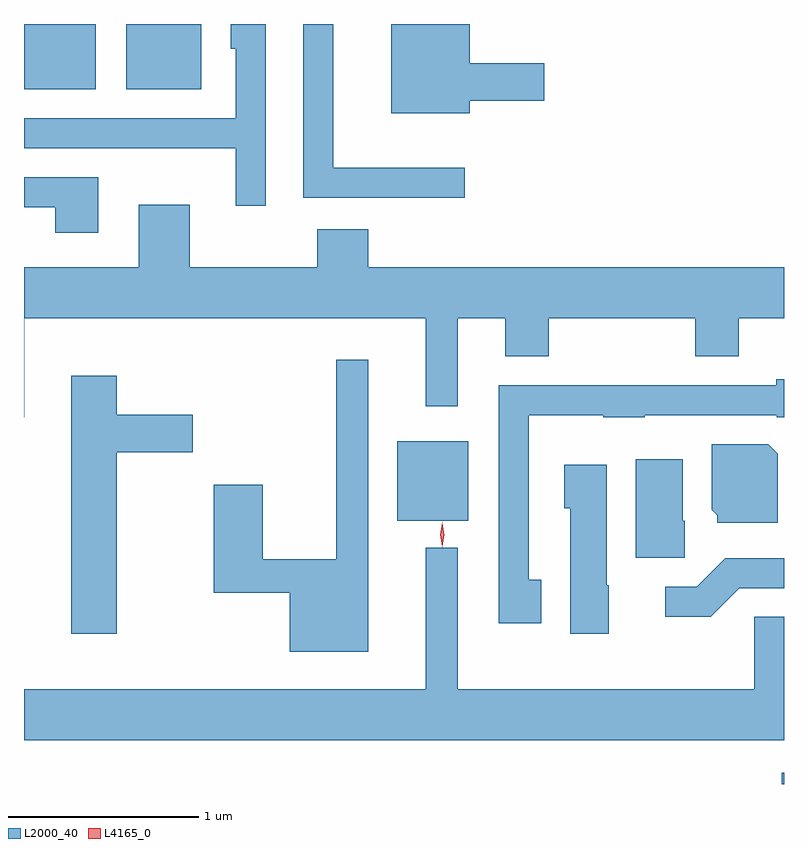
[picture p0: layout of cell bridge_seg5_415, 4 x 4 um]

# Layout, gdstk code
import gdstk
lib = gdstk.Library(unit=1e-6, precision=1e-09)
def R(c, l, rs):  # rectangles x0, y0, x1, y1
    for r in rs: c.add(gdstk.rectangle(r[:2], r[2:], *l))
def P(c, l, *ps):  # polygons
    for p in ps: c.add(gdstk.Polygon(p, *l))
L2000_40 = (2000, 40)
L4165_0 = (4165, 0)

bridge_seg5_415 = lib.new_cell('bridge_seg5_415')
R(bridge_seg5_415, L2000_40, [(311.126,1492.085,311.137,1492.144), (309.101,1493.471,309.474,1493.889), (307.137,1495.741,307.514,1496.085), (307.676,1495.741,308.069,1496.085)])
P(bridge_seg5_415, L2000_40, [(309.458,1495.329),(308.764,1495.329),(308.764,1496.085),(308.606,1496.085),(308.606,1495.171),(309.458,1495.171)],
  [(309.484,1495.681),(309.874,1495.681),(309.874,1495.879),(309.484,1495.879),(309.484,1496.085),(309.071,1496.085),(309.071,1495.616),(309.484,1495.616)],
  [(308.409,1496.085),(308.226,1496.085),(308.226,1495.956),(308.251,1495.956),(308.251,1495.589),(307.137,1495.589),(307.137,1495.431),(308.251,1495.431),(308.251,1495.128),(308.409,1495.128)],
  [(307.529,1495.279),(307.137,1495.279),(307.137,1495.121),(307.301,1495.121),(307.301,1494.986),(307.529,1494.986)],
  [(307.139,1494.536),(309.251,1494.536),(309.251,1494.073),(309.419,1494.073),(309.419,1494.536),(309.671,1494.536),(309.671,1494.336),(309.899,1494.336),(309.899,1494.536),(310.671,1494.536),(310.671,1494.336),(310.899,1494.336),(310.899,1494.536),(311.137,1494.536),(311.137,1494.804),(308.949,1494.804),(308.949,1495.004),(308.681,1495.004),(308.681,1494.804),(308.009,1494.804),(308.009,1495.134),(307.741,1495.134),(307.741,1494.804),(307.137,1494.804),(307.137,1494.016),(307.139,1494.016)],
  [(308.949,1494.318),(308.781,1494.318),(308.781,1493.269),(308.394,1493.269),(308.394,1493.659),(308.136,1493.659),(308.136,1493.091),(308.536,1493.091),(308.536,1492.781),(308.949,1492.781)],
  [(307.624,1493.831),(308.024,1493.831),(308.024,1494.029),(307.624,1494.029),(307.624,1494.234),(307.386,1494.234),(307.386,1492.876),(307.624,1492.876)],
  [(309.859,1493.159),(309.794,1493.159),(309.794,1494.026),(310.185,1494.026),(310.185,1494.016),(310.405,1494.016),(310.405,1494.026),(311.1,1494.026),(311.1,1494.016),(311.137,1494.016),(311.137,1494.214),(311.096,1494.214),(311.096,1494.184),(309.636,1494.184),(309.636,1492.931),(309.859,1492.931)],
  [(311.104,1493.824),(311.054,1493.874),(310.756,1493.874),(310.756,1493.529),(310.786,1493.499),(310.786,1493.461),(311.104,1493.461)],
  [(310.614,1493.47),(310.604,1493.47),(310.604,1493.794),(310.356,1493.794),(310.356,1493.276),(310.614,1493.276)],
  [(310.214,1493.13),(310.204,1493.13),(310.204,1493.764),(309.981,1493.764),(309.981,1493.536),(310.011,1493.536),(310.011,1492.876),(310.214,1492.876)],
  [(311.137,1492.964),(310.981,1492.964),(310.981,1492.584),(309.419,1492.584),(309.419,1493.328),(309.251,1493.328),(309.251,1492.584),(307.137,1492.584),(307.137,1492.316),(311.137,1492.316)],
  [(310.902,1493.116),(311.137,1493.116),(311.137,1493.274),(310.829,1493.274),(310.679,1493.124),(310.513,1493.124),(310.513,1492.966),(310.752,1492.966)])
P(bridge_seg5_415, L4165_0, [(309.339,1493.332),(309.338,1493.333),(309.329,1493.397),(309.338,1493.461),(309.339,1493.462),(309.339,1493.461),(309.349,1493.397),(309.339,1493.333)])

lib.write_gds('bridge_seg5_415.gds')
